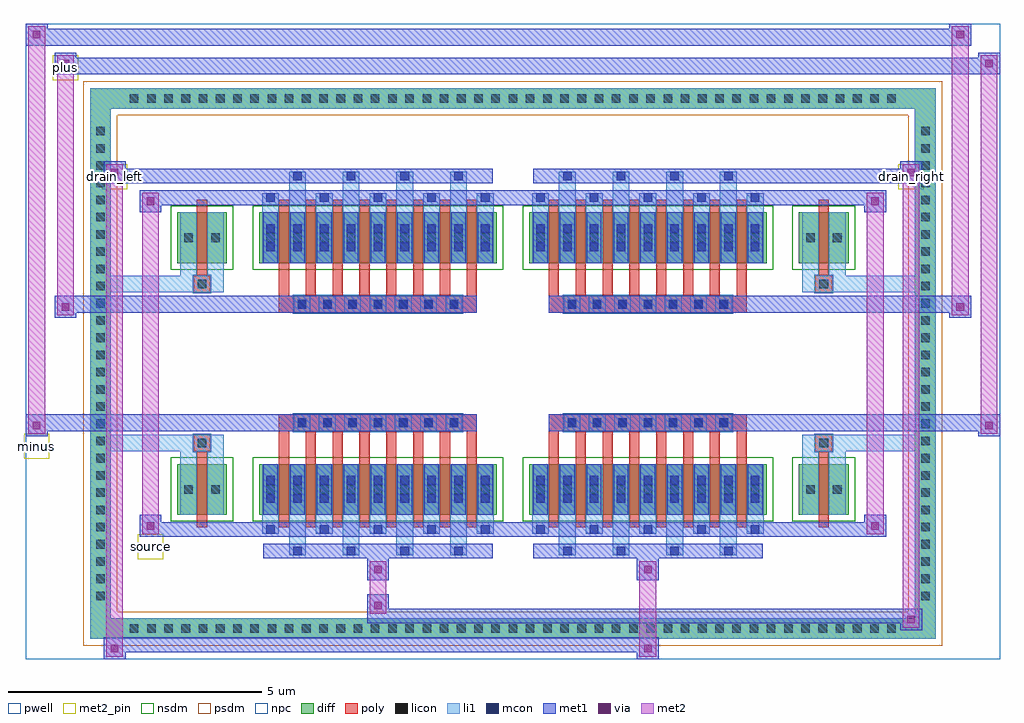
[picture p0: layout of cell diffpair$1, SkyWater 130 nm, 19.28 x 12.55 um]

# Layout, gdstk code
import gdstk
lib = gdstk.Library(unit=1e-6, precision=5e-09)
def R(c, l, rs):  # rectangles x0, y0, x1, y1
    for r in rs: c.add(gdstk.rectangle(r[:2], r[2:], *l))
def A(c, l, x, y, w, h, nx, ny, dx, dy):  # array of equal rectangles
    R(c, l, [(x+i*dx, y+j*dy, x+i*dx+w, y+j*dy+h) for i in range(nx) for j in range(ny)])
def P(c, l, *ps):  # polygons
    for p in ps: c.add(gdstk.Polygon(p, *l))
pwell = (64, 44)
diff = (65, 20)
poly = (66, 20)
licon = (66, 44)
li1 = (67, 20)
mcon = (67, 44)
met1 = (68, 20)
via = (68, 44)
met2_pin = (69, 16)
met2 = (69, 20)
nsdm = (93, 44)
psdm = (94, 20)
npc = (95, 20)

diffpair_1 = lib.new_cell('diffpair$1')
R(diffpair_1, pwell, [(-9.62,-5.84,9.62,6.71), (-6.94,-4.03,-0.01,-0.805), (0.01,-4.03,6.94,-0.805), (-6.94,0.805,-0.01,4.03), (0.01,0.805,6.94,4.03)])
A(diffpair_1, diff, -7.685, -5.44, 0.41, 0.41, 45, 2, 0.34, 10.47)
A(diffpair_1, diff, -8.35, -4.795, 0.41, 0.41, 1, 28, 0, 0.34)
A(diffpair_1, diff, 7.94, -4.795, 0.41, 0.41, 1, 28, 0, 0.34)
R(diffpair_1, diff, [(-7.685,-5.44,7.685,-5.03), (-8.35,-4.795,-7.94,4.795), (7.94,-4.795,8.35,4.795), (-6.63,-2.985,-5.65,-1.985), (-5.01,-2.985,-0.32,-1.985), (0.32,-2.985,5.01,-1.985), (5.65,-2.985,6.63,-1.985), (-6.63,1.985,-5.65,2.985), (-5.01,1.985,-0.32,2.985), (0.32,1.985,5.01,2.985), (5.65,1.985,6.63,2.985), (-7.685,5.03,7.685,5.44)])
P(diffpair_1, diff, [(8.35,5.44),(-8.35,5.44),(-8.35,-5.03),(-7.94,-5.03),(-7.94,5.03),(7.94,5.03),(7.94,-5.03),(-7.94,-5.03),(-8.35,-5.03),(-8.35,-5.44),(8.35,-5.44)])
A(diffpair_1, poly, -4.62, -3.235, 0.2, 1.5, 8, 2, 0.53, 4.97)
A(diffpair_1, poly, 0.71, -3.235, 0.2, 1.5, 8, 2, 0.53, 4.97)
A(diffpair_1, poly, -4.62, -1.735, 0.2, 0.4, 8, 2, 0.53, 3.07)
A(diffpair_1, poly, 0.71, -1.735, 0.2, 0.4, 8, 2, 0.53, 3.07)
A(diffpair_1, poly, -4.33, -1.335, 0.33, 0.33, 7, 2, 0.5, 2.34)
A(diffpair_1, poly, 1, -1.335, 0.33, 0.33, 7, 2, 0.5, 2.34)
R(diffpair_1, poly, [(-6.24,-3.235,-6.04,-1.735), (6.04,-3.235,6.24,-1.735), (-6.305,-1.735,-5.975,-1.405), (-6.305,-1.735,-5.975,-1.405), (5.975,-1.735,6.305,-1.405), (5.975,-1.735,6.305,-1.405), (-4.62,-1.335,-0.71,-1.005), (0.71,-1.335,4.62,-1.005), (-4.62,1.005,-0.71,1.335), (0.71,1.005,4.62,1.335), (-6.305,1.405,-5.975,1.735), (-6.305,1.405,-5.975,1.735), (5.975,1.405,6.305,1.735), (5.975,1.405,6.305,1.735), (-6.24,1.735,-6.04,3.235), (6.04,1.735,6.24,3.235)])
A(diffpair_1, licon, -7.565, -5.32, 0.17, 0.17, 45, 2, 0.34, 10.47)
A(diffpair_1, licon, -8.23, -4.675, 0.17, 0.17, 1, 28, 0, 0.34)
A(diffpair_1, licon, 8.06, -4.675, 0.17, 0.17, 1, 28, 0, 0.34)
A(diffpair_1, licon, -4.87, -2.57, 0.17, 0.17, 9, 2, 0.53, 4.97)
A(diffpair_1, licon, 0.46, -2.57, 0.17, 0.17, 9, 2, 0.53, 4.97)
A(diffpair_1, licon, -4.25, -1.255, 0.17, 0.17, 7, 2, 0.5, 2.34)
A(diffpair_1, licon, 1.08, -1.255, 0.17, 0.17, 7, 2, 0.5, 2.34)
R(diffpair_1, licon, [(-6.49,-2.57,-6.32,-2.4), (-5.96,-2.57,-5.79,-2.4), (5.79,-2.57,5.96,-2.4), (6.32,-2.57,6.49,-2.4), (-6.225,-1.655,-6.055,-1.485), (6.055,-1.655,6.225,-1.485), (-6.225,1.485,-6.055,1.655), (6.055,1.485,6.225,1.655), (-6.49,2.4,-6.32,2.57), (-5.96,2.4,-5.79,2.57), (5.79,2.4,5.96,2.57), (6.32,2.4,6.49,2.57)])
A(diffpair_1, li1, -7.645, -5.4, 0.33, 0.33, 45, 2, 0.34, 10.47)
A(diffpair_1, li1, -8.31, -4.755, 0.33, 0.33, 1, 28, 0, 0.34)
A(diffpair_1, li1, 7.98, -4.755, 0.33, 0.33, 1, 28, 0, 0.34)
A(diffpair_1, li1, -4.42, -3.79, 0.33, 0.805, 4, 2, 1.06, 6.775)
A(diffpair_1, li1, -4.34, -3.79, 0.17, 0.17, 4, 2, 1.06, 7.41)
A(diffpair_1, li1, 0.91, -3.79, 0.33, 0.805, 4, 2, 1.06, 6.775)
A(diffpair_1, li1, 0.99, -3.79, 0.17, 0.17, 4, 2, 1.06, 7.41)
A(diffpair_1, li1, -4.95, -3.36, 0.33, 0.375, 5, 2, 1.06, 6.345)
A(diffpair_1, li1, -4.87, -3.36, 0.17, 0.17, 5, 2, 1.06, 6.55)
A(diffpair_1, li1, 0.38, -3.36, 0.33, 0.375, 5, 2, 1.06, 6.345)
A(diffpair_1, li1, 0.46, -3.36, 0.17, 0.17, 5, 2, 1.06, 6.55)
A(diffpair_1, li1, -4.95, -2.985, 0.33, 1, 9, 2, 0.53, 4.97)
A(diffpair_1, li1, 0.38, -2.985, 0.33, 1, 9, 2, 0.53, 4.97)
A(diffpair_1, li1, -4.87, -2.75, 0.17, 0.17, 9, 2, 0.53, 0.36)
A(diffpair_1, li1, -4.87, -2.75, 0.17, 0.53, 9, 2, 0.53, 4.97)
A(diffpair_1, li1, 0.46, -2.75, 0.17, 0.17, 9, 2, 0.53, 0.36)
A(diffpair_1, li1, 0.46, -2.75, 0.17, 0.53, 9, 2, 0.53, 4.97)
A(diffpair_1, li1, -4.95, -2.65, 0.33, 0.33, 9, 2, 0.53, 4.97)
A(diffpair_1, li1, 0.38, -2.65, 0.33, 0.33, 9, 2, 0.53, 4.97)
A(diffpair_1, li1, -4.33, -1.335, 0.33, 0.33, 7, 2, 0.5, 2.34)
A(diffpair_1, li1, 1, -1.335, 0.33, 0.33, 7, 2, 0.5, 2.34)
A(diffpair_1, li1, -4.87, 2.22, 0.17, 0.17, 9, 2, 0.53, 0.36)
A(diffpair_1, li1, 0.46, 2.22, 0.17, 0.17, 9, 2, 0.53, 0.36)
R(diffpair_1, li1, [(-8.35,-5.44,-7.94,-5.03), (-8.35,-5.44,-7.94,-5.03), (-7.94,-5.44,7.94,-5.03), (7.94,-5.44,8.35,-5.03), (7.94,-5.44,8.35,-5.03), (-8.35,-5.03,-7.94,5.03), (7.94,-5.03,8.35,5.03), (-6.57,-2.985,-6.24,-1.985), (-6.04,-2.985,-5.71,-1.985), (5.71,-2.985,6.04,-1.985), (6.24,-2.985,6.57,-1.985), (-6.57,-2.65,-6.24,-2.32), (-6.04,-2.65,-5.71,-2.32), (5.71,-2.65,6.04,-2.32), (6.24,-2.65,6.57,-2.32), (-6.57,-1.985,-6.24,-1.405), (-6.04,-1.985,-5.71,-1.405), (5.71,-1.985,6.04,-1.405), (6.24,-1.985,6.57,-1.405), (-8.35,-1.735,-6.305,-1.405), (-6.57,-1.735,-6.305,-1.405), (-6.305,-1.735,-5.975,-1.405), (-5.975,-1.735,-5.71,-1.405), (5.71,-1.735,5.975,-1.405), (5.975,-1.735,6.305,-1.405), (5.975,-1.735,8.35,-1.405), (6.305,-1.735,6.57,-1.405), (-8.35,1.405,-6.305,1.735), (-6.57,1.405,-6.305,1.735), (-6.57,1.405,-6.24,1.985), (-6.305,1.405,-5.975,1.735), (-6.04,1.405,-5.71,1.985), (-5.975,1.405,-5.71,1.735), (5.71,1.405,5.975,1.735), (5.71,1.405,6.04,1.985), (5.975,1.405,6.305,1.735), (5.975,1.405,8.35,1.735), (6.24,1.405,6.57,1.985), (6.305,1.405,6.57,1.735), (-6.57,1.985,-6.24,2.985), (-6.04,1.985,-5.71,2.985), (5.71,1.985,6.04,2.985), (6.24,1.985,6.57,2.985), (-6.57,2.32,-6.24,2.65), (-6.04,2.32,-5.71,2.65), (5.71,2.32,6.04,2.65), (6.24,2.32,6.57,2.65), (-8.35,5.03,-7.94,5.44), (-8.35,5.03,-7.94,5.44), (-7.94,5.03,7.94,5.44), (7.94,5.03,8.35,5.44), (7.94,5.03,8.35,5.44)])
A(diffpair_1, mcon, -4.34, -3.79, 0.17, 0.17, 4, 2, 1.06, 7.41)
A(diffpair_1, mcon, 0.99, -3.79, 0.17, 0.17, 4, 2, 1.06, 7.41)
A(diffpair_1, mcon, -4.87, -3.36, 0.17, 0.17, 5, 2, 1.06, 6.55)
A(diffpair_1, mcon, 0.46, -3.36, 0.17, 0.17, 5, 2, 1.06, 6.55)
A(diffpair_1, mcon, -4.87, -2.75, 0.17, 0.17, 9, 2, 0.53, 0.36)
A(diffpair_1, mcon, 0.46, -2.75, 0.17, 0.17, 9, 2, 0.53, 0.36)
A(diffpair_1, mcon, -4.25, -1.255, 0.17, 0.17, 7, 2, 0.5, 2.34)
A(diffpair_1, mcon, 1.08, -1.255, 0.17, 0.17, 7, 2, 0.5, 2.34)
A(diffpair_1, mcon, -4.87, 2.22, 0.17, 0.17, 9, 2, 0.53, 0.36)
A(diffpair_1, mcon, 0.46, 2.22, 0.17, 0.17, 9, 2, 0.53, 0.36)
A(diffpair_1, met1, -4.4, -3.85, 0.29, 0.29, 4, 2, 1.06, 7.41)
A(diffpair_1, met1, 0.93, -3.85, 0.29, 0.29, 4, 2, 1.06, 7.41)
A(diffpair_1, met1, -4.93, -3.42, 0.29, 0.29, 5, 2, 1.06, 6.55)
A(diffpair_1, met1, 0.4, -3.42, 0.29, 0.29, 5, 2, 1.06, 6.55)
A(diffpair_1, met1, -4.93, -2.985, 0.29, 1, 9, 2, 0.53, 4.97)
A(diffpair_1, met1, 0.4, -2.985, 0.29, 1, 9, 2, 0.53, 4.97)
A(diffpair_1, met1, -4.93, -2.81, 0.29, 0.29, 9, 2, 0.53, 0.36)
A(diffpair_1, met1, 0.4, -2.81, 0.29, 0.29, 9, 2, 0.53, 0.36)
A(diffpair_1, met1, -4.31, -1.315, 0.29, 0.29, 7, 2, 0.5, 2.34)
A(diffpair_1, met1, 1.02, -1.315, 0.29, 0.29, 7, 2, 0.5, 2.34)
A(diffpair_1, met1, -4.93, 2.16, 0.29, 0.29, 9, 2, 0.53, 0.36)
A(diffpair_1, met1, 0.4, 2.16, 0.29, 0.29, 9, 2, 0.53, 0.36)
R(diffpair_1, met1, [(-8.08,-5.84,-7.65,-5.41), (2.45,-5.84,2.88,-5.41), (-8.08,-5.7,2.88,-5.41), (7.65,-5.27,8.08,-4.84), (-2.88,-5.13,8.08,-4.84), (-2.88,-4.99,-2.45,-4.56), (-2.88,-4.28,-2.45,-3.85), (2.45,-4.28,2.88,-3.85), (-4.93,-3.85,-0.4,-3.56), (0.4,-3.85,4.93,-3.56), (-7.37,-3.42,-6.94,-2.99), (-7.37,-3.42,-4.93,-3.13), (-4.93,-3.42,-0.4,-3.13), (-0.4,-3.42,0.4,-3.13), (0.4,-3.42,4.93,-3.13), (4.93,-3.42,7.37,-3.13), (6.94,-3.42,7.37,-2.99), (-9.62,-1.435,-9.19,-1.005), (9.19,-1.435,9.62,-1.005), (-9.62,-1.335,-0.71,-1.005), (-4.62,-1.335,-0.71,-1.005), (0.71,-1.335,4.62,-1.005), (0.71,-1.335,9.62,-1.005), (-9.05,0.905,-8.62,1.335), (8.62,0.905,9.05,1.335), (-9.05,1.005,-4.62,1.335), (-4.62,1.005,-0.71,1.335), (0.71,1.005,4.62,1.335), (4.62,1.005,9.05,1.335), (-7.37,2.99,-6.94,3.42), (6.94,2.99,7.37,3.42), (-7.37,3.13,-4.93,3.42), (-4.93,3.13,-0.4,3.42), (-0.4,3.13,0.4,3.42), (0.4,3.13,4.93,3.42), (4.93,3.13,7.37,3.42), (-8.08,3.56,-7.65,3.99), (-8.08,3.56,-4.93,3.85), (-4.93,3.56,-0.4,3.85), (0.4,3.56,4.93,3.85), (4.93,3.56,8.08,3.85), (7.65,3.56,8.08,3.99), (-9.05,5.71,-8.62,6.14), (-9.05,5.71,-6.94,6.04), (-6.94,5.71,6.94,6.04), (6.94,5.71,9.62,6.04), (9.19,5.71,9.62,6.14), (-9.62,6.28,-9.19,6.71), (-9.62,6.28,-6.94,6.61), (-6.94,6.28,6.94,6.61), (6.94,6.28,9.05,6.61), (8.62,6.28,9.05,6.71)])
R(diffpair_1, via, [(-7.94,-5.7,-7.79,-5.55), (2.59,-5.7,2.74,-5.55), (7.79,-5.13,7.94,-4.98), (-2.74,-4.85,-2.59,-4.7), (-2.74,-4.14,-2.59,-3.99), (2.59,-4.14,2.74,-3.99), (-7.23,-3.28,-7.08,-3.13), (7.08,-3.28,7.23,-3.13), (-9.48,-1.295,-9.33,-1.145), (9.33,-1.295,9.48,-1.145), (-8.91,1.045,-8.76,1.195), (8.76,1.045,8.91,1.195), (-7.23,3.13,-7.08,3.28), (7.08,3.13,7.23,3.28), (-7.94,3.7,-7.79,3.85), (7.79,3.7,7.94,3.85), (-8.91,5.85,-8.76,6), (9.33,5.85,9.48,6), (-9.48,6.42,-9.33,6.57), (8.76,6.42,8.91,6.57)])
R(diffpair_1, met2_pin, [(-7.405,-3.87,-6.905,-3.37), (-9.655,-1.885,-9.155,-1.385), (-8.115,3.44,-7.615,3.94), (7.615,3.44,8.115,3.94), (-9.085,5.59,-8.585,6.09)])
R(diffpair_1, met2, [(-8.03,-5.79,-7.7,-5.46), (-8.03,-5.79,-7.7,3.94), (2.5,-5.79,2.83,-5.46), (2.5,-5.46,2.83,-4.23), (7.7,-5.22,8.03,-4.89), (7.7,-5.22,8.03,3.94), (-2.83,-4.94,-2.5,-4.61), (-2.83,-4.61,-2.5,-4.23), (-2.83,-4.23,-2.5,-3.9), (2.5,-4.23,2.83,-3.9), (-7.32,-3.37,-6.99,-3.04), (-7.32,-3.37,-6.99,3.37), (6.99,-3.37,7.32,-3.04), (6.99,-3.37,7.32,3.37), (-9.57,-1.385,-9.24,-1.055), (-9.57,-1.385,-9.24,6.66), (9.24,-1.385,9.57,-1.055), (9.24,-1.385,9.57,6.09), (-9,0.955,-8.67,1.285), (-9,0.955,-8.67,6.09), (8.67,0.955,9,1.285), (8.67,0.955,9,6.66), (-7.32,3.04,-6.99,3.37), (6.99,3.04,7.32,3.37), (-8.03,3.61,-7.7,3.94), (7.7,3.61,8.03,3.94), (-9,5.76,-8.67,6.09), (9.24,5.76,9.57,6.09), (-9.57,6.33,-9.24,6.66), (8.67,6.33,9,6.66)])
P(diffpair_1, met2, [(9.57,-1.385),(9.57,-1.385),(9.57,-1.055),(9.57,-1.055)],
  [(9.57,5.76),(9.57,5.76),(9.57,6.09),(9.57,6.09)],
  [(-9.24,-1.385),(-9.24,-1.385),(-9.24,-1.055),(-9.24,-1.055)],
  [(-9.24,6.33),(-9.24,6.33),(-9.24,6.66),(-9.24,6.66)],
  [(9,0.955),(9,0.955),(9,1.285),(9,1.285)],
  [(9,6.33),(9,6.33),(9,6.66),(9,6.66)],
  [(-8.67,0.955),(-8.67,0.955),(-8.67,1.285),(-8.67,1.285)],
  [(-8.67,5.76),(-8.67,5.76),(-8.67,6.09),(-8.67,6.09)],
  [(-7.7,-5.79),(-7.7,-5.79),(-7.7,-5.46),(-7.7,-5.46)],
  [(-7.7,3.61),(-7.7,3.61),(-7.7,3.94),(-7.7,3.94)],
  [(8.03,-5.22),(8.03,-5.22),(8.03,-4.89),(8.03,-4.89)],
  [(8.03,3.61),(8.03,3.61),(8.03,3.94),(8.03,3.94)],
  [(-6.99,-3.37),(-6.99,-3.37),(-6.99,-3.04),(-6.99,-3.04)],
  [(-6.99,3.04),(-6.99,3.04),(-6.99,3.37),(-6.99,3.37)],
  [(7.32,-3.37),(7.32,-3.37),(7.32,-3.04),(7.32,-3.04)],
  [(7.32,3.04),(7.32,3.04),(7.32,3.37),(7.32,3.37)])
R(diffpair_1, nsdm, [(-6.76,-3.115,-5.52,-1.855), (-5.14,-3.115,-0.19,-1.855), (0.19,-3.115,5.14,-1.855), (5.52,-3.115,6.76,-1.855), (-6.76,1.855,-5.52,3.115), (-5.14,1.855,-0.19,3.115), (0.19,1.855,5.14,3.115), (5.52,1.855,6.76,3.115)])
P(diffpair_1, psdm, [(8.48,5.57),(-8.48,5.57),(-8.48,-4.9),(-7.81,-4.9),(-7.81,4.9),(7.81,4.9),(7.81,-4.9),(-7.81,-4.9),(-8.48,-4.9),(-8.48,-5.57),(8.48,-5.57)])
A(diffpair_1, npc, -4.35, -1.355, 0.37, 0.37, 7, 2, 0.5, 2.34)
A(diffpair_1, npc, 0.98, -1.355, 0.37, 0.37, 7, 2, 0.5, 2.34)
R(diffpair_1, npc, [(-6.325,-1.755,-5.955,-1.385), (5.955,-1.755,6.325,-1.385), (-4.35,-1.355,-3.48,-0.985), (-4.35,-1.355,-3.48,-0.985), (-3.85,-1.355,-2.98,-0.985), (-3.85,-1.355,-2.98,-0.985), (-3.35,-1.355,-2.48,-0.985), (-3.35,-1.355,-2.48,-0.985), (-2.85,-1.355,-1.98,-0.985), (-2.85,-1.355,-1.98,-0.985), (-2.35,-1.355,-1.48,-0.985), (-2.35,-1.355,-1.48,-0.985), (-1.85,-1.355,-0.98,-0.985), (-1.85,-1.355,-0.98,-0.985), (0.98,-1.355,1.85,-0.985), (0.98,-1.355,1.85,-0.985), (1.48,-1.355,2.35,-0.985), (1.48,-1.355,2.35,-0.985), (1.98,-1.355,2.85,-0.985), (1.98,-1.355,2.85,-0.985), (2.48,-1.355,3.35,-0.985), (2.48,-1.355,3.35,-0.985), (2.98,-1.355,3.85,-0.985), (2.98,-1.355,3.85,-0.985), (3.48,-1.355,4.35,-0.985), (3.48,-1.355,4.35,-0.985), (-4.35,0.985,-3.48,1.355), (-4.35,0.985,-3.48,1.355), (-3.85,0.985,-2.98,1.355), (-3.85,0.985,-2.98,1.355), (-3.35,0.985,-2.48,1.355), (-3.35,0.985,-2.48,1.355), (-2.85,0.985,-1.98,1.355), (-2.85,0.985,-1.98,1.355), (-2.35,0.985,-1.48,1.355), (-2.35,0.985,-1.48,1.355), (-1.85,0.985,-0.98,1.355), (-1.85,0.985,-0.98,1.355), (0.98,0.985,1.85,1.355), (0.98,0.985,1.85,1.355), (1.48,0.985,2.35,1.355), (1.48,0.985,2.35,1.355), (1.98,0.985,2.85,1.355), (1.98,0.985,2.85,1.355), (2.48,0.985,3.35,1.355), (2.48,0.985,3.35,1.355), (2.98,0.985,3.85,1.355), (2.98,0.985,3.85,1.355), (3.48,0.985,4.35,1.355), (3.48,0.985,4.35,1.355), (-6.325,1.385,-5.955,1.755), (5.955,1.385,6.325,1.755)])
diffpair_1.add(gdstk.Label('minus', (-9.405,-1.635), layer=69, texttype=5))
diffpair_1.add(gdstk.Label('drain_right', (7.865,3.69), layer=69, texttype=5))
diffpair_1.add(gdstk.Label('drain_left', (-7.865,3.69), layer=69, texttype=5))
diffpair_1.add(gdstk.Label('source', (-7.155,-3.62), layer=69, texttype=5))
diffpair_1.add(gdstk.Label('plus', (-8.835,5.84), layer=69, texttype=5))

lib.write_gds('diffpair_1.gds')
